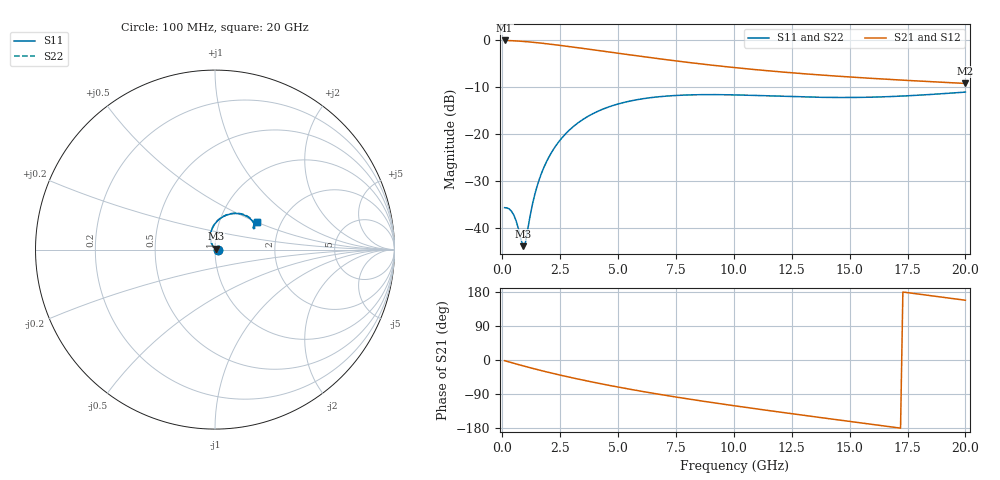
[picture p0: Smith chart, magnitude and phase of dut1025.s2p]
! Touchstone file exported from HFSS 2024.1.0
!  File:  C:/UserFiles/LocalFiles/RDL_TSV_Batchsim/temp_RDL_TSV_1025_1780082161.aedt
!  Generated:  03:31:18 AM May 30, 2026
!  Design:  RDL_TSV
!  Project:  temp_RDL_TSV_1025_1780082161
!  Setup:  Setup1
!  Solution:  Sweep
! Variables:
!  dtsv = 9.72um
!  hbump = 3um
!  htsv = 86.11um
!  ldown = 497.08um
!  lrdl = 311.77um
!  p = 40
!  p1 = 45.34um
!  rhole = 10um
!  subl = 2738.32um
!  t = 450um
!  tdown = 2.77um
!  trdl = 3.93um
!  viad = 10um
!  wdown = 17.68um
!  wrdl = 21.61um
!  xbump = 18um
# GHz S MA R 50.000000
! Terminal data exported
! Port[1] = TM1_1_T1
! Port[2] = TM1_4_T1
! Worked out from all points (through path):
!   200 points, 100 MHz to 20 GHz, reference 50 ohm
!   highest |S21| = -0.15 dB at 100 MHz (marker M1); lowest = -9.3 dB at 20 GHz (marker M2)
!   group delay of S21, straight-line fit = 26.5 ps
!   lowest |S11| = -43.8 dB at 900 MHz (marker M3), VSWR 1.01, Z = 50.4 + j0.506 ohm
!   |S11| at or under -10 dB: start of sweep to end of sweep
!   |S22| runs from -43.8 to -11.0 dB; largest |S21 - S12| = 1e-14
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0.1  0.01659 1.9  0.9829 -1.8  0.9829 -1.8  0.01659 1.9
! Gamma 0 0 0 0
! Port Impedance 50 0 50 0
0.3  0.01607 3.8  0.9797 -5.3  0.9797 -5.3  0.01606 3.8
0.5  0.01379 5.3  0.9747 -8.8  0.9747 -8.8  0.01376 5.4
0.6  0.01197 8.0  0.9717 -10.5  0.9717 -10.5  0.01193 8.1
0.9  0.006479 50.7  0.9606 -15.5  0.9606 -15.5  0.006457 51.5
1  0.007108 81.2  0.9563 -17.1  0.9563 -17.1  0.007145 82.1
1.2  0.01349 112.4  0.9469 -20.4  0.9469 -20.4  0.01362 112.8
1.4  0.02273 119.5  0.9366 -23.6  0.9366 -23.6  0.02291 119.7
1.6  0.03323 119.9  0.9256 -26.7  0.9256 -26.7  0.03347 120.0
1.9  0.05033 116.7  0.908 -31.2  0.908 -31.2  0.05066 116.8
2.2  0.0683 112.0  0.8897 -35.6  0.8897 -35.6  0.06873 112.1
2.6  0.09255 105.1  0.8648 -41.3  0.8648 -41.3  0.09312 105.2
3.5  0.1439 90.1  0.8086 -53.2  0.8086 -53.2  0.1448 90.2
4.2  0.1777 79.7  0.7661 -62.0  0.7661 -62.0  0.1788 79.8
4.9  0.205 70.6  0.7255 -70.3  0.7255 -70.3  0.2064 70.7
6.8  0.2492 51.5  0.6275 -90.8  0.6275 -90.8  0.2511 51.6
8.4  0.2613 40.6  0.5608 -106.2  0.5608 -106.2  0.2635 40.6
10.1  0.26 33.1  0.5049 -121.4  0.5049 -121.4  0.2624 33.2
11.7  0.2532 29.4  0.4637 -135.0  0.4637 -135.0  0.2558 29.4
13.4  0.2463 28.4  0.4291 -149.1  0.4291 -149.1  0.2488 28.2
16.7  0.2494 31.1  0.38 -175.8  0.38 -175.8  0.2517 30.8
20  0.2787 33.1  0.3443 157.7  0.3443 157.7  0.2804 32.8
